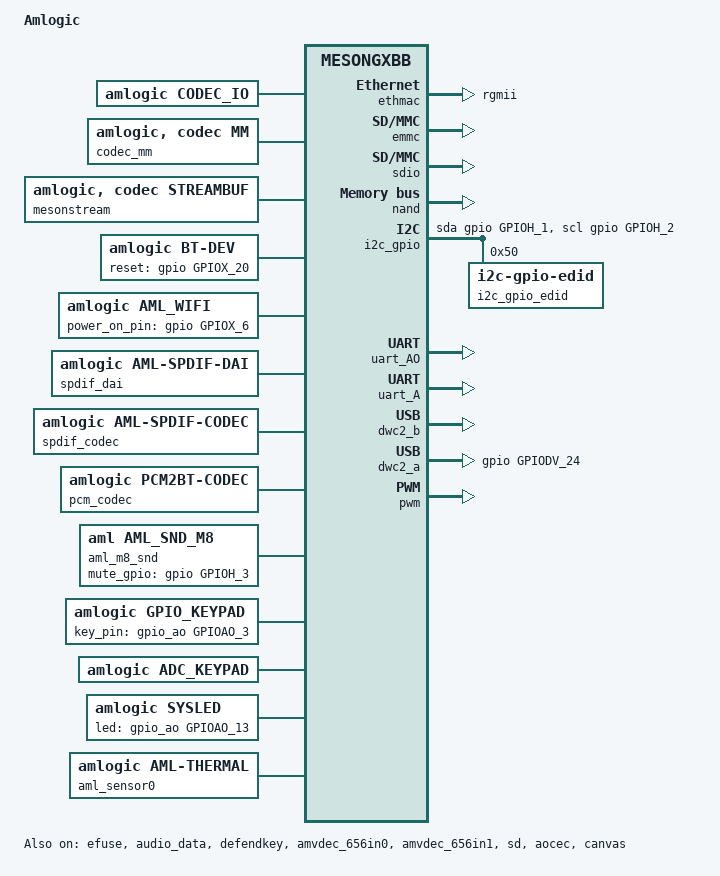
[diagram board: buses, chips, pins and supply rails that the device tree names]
/*
 * Amlogic Ltd. GXBaby Plaform
 *
 */

/dts-v1/;

#include <dt-bindings/interrupt-controller/arm-gic.h>
#include <dt-bindings/clock/gxbb.h>
#include <dt-bindings/gpio/gxbb.h>
#include <dt-bindings/gpio/gpio.h>
#include <dt-bindings/reset/aml_gxbb.h>
#include <dt-bindings/pwm/pwm.h>
#include <dt-bindings/pwm/meson.h>
#include "mesongxbb.dtsi"
/ {
	model = "Amlogic";
	amlogic-dt-id = "gxb_p200_2g";
	compatible = "amlogic, Gxbb";
	interrupt-parent = <&gic>;
	#address-cells = <2>;
	#size-cells = <2>;

	aliases {
		serial0 = &uart_AO;
		serial1 = &uart_A;
	};

	gpu_dvfs_tbl:gpu_dvfs_tbl {
		sc_mpp = <3>;/* number of pp used most of time.*/
		tbl = <&clk285_cfg &clk400_cfg &clk500_cfg &clk666_cfg &clk800_cfg>;
	};

	memory@00000000 {
		device_type = "memory";
		linux,usable-memory = <0x0 0x1000000 0x0 0x7f000000>;
	};

	reserved-memory {
		#address-cells = <2>;
		#size-cells = <2>;
		ranges;
		/* global autoconfigured region for contiguous allocations */
		secmon_reserved:linux,secmon {
			compatible = "amlogic, aml_secmon_memory";
			reg = <0x0 0x10000000 0x0 0x200000>;
			no-map;
		};
		secos_reserved:linux,secos {
			status = "disable";
			compatible = "amlogic, aml_secos_memory";
			reg = <0x0 0x05300000 0x0 0x2000000>;
			no-map;
		};
		pstore:aml_pstore {
			compatible = "amlogic, pstore";
			reg = <0x0 0x07300000 0x0 0x100000>;
			no-map;
		};
		fb_reserved:linux,meson-fb {
			compatible = "amlogic, fb-memory";
			reg = <0x0 0x7e000000 0x0 0x2000000>;
			no-map;
		};

		di_reserved:linux,di {
			compatible = "amlogic, di-mem";
			/** 10x3133440=30M(0x1e) support 8bit **/
			size = <0x0 0x1e00000>;
			//no-map;
			multi-use;
		};

		ion_reserved:linux,ion-dev {
			compatible = "amlogic, idev-mem";
			size = <0x0 0x2000000>;
			multi-use;
		};

		/*  vdin0 */
//		vdin0_reserved:linux,vdin0 {
//			compatible = "amlogic, vdin_memory";
			/* 1920x1080x2x4  =17M */
//			size = <0x0 0x01000000>;
//		};
		 /*  vdin1 */
//		vdin1_reserved:linux,vdin1 {
//			compatible = "amlogic, vdin_memory";
			/* 1920x1080x2x4  =17M */
//			size = <0x0 0x01000000>;
//		};
		/*  POST PROCESS MANAGER */
		//ppmgr_reserved:linux,ppmgr {
		//	compatible = "amlogic, ppmgr_memory";
		//	size = <0x0 0x2000000>;
		//};

		codec_mm_cma:linux,codec_mm_cma {
			compatible = "shared-dma-pool";
			reusable;
			size = <0x0 0xc000000>;
			alignment = <0x0 0x400000>;
			linux,contiguous-region;
		};
		picdec_cma_reserved:linux,picdec {
			compatible = "shared-dma-pool";
			reusable;
			size = <0x0 0x0>;
			status = "disabled";
			alignment = <0x0 0x400000>;
			linux,contiguous-region;
		};
		/*vm0_cma_reserved:linux,vm0_cma {
			compatible = "shared-dma-pool";
			reusable;
			size = <0x0 0x2000000>;
			alignment = <0x0 0x400000>;
		};
		vm1_cma_reserved:linux,vm1_cma {
			compatible = "shared-dma-pool";
			reusable;
			size = <0x0 0x2000000>;
			alignment = <0x0 0x400000>;
		};*/
		/* codec shared reserved */
		codec_mm_reserved:linux,codec_mm_reserved {
			compatible = "amlogic, codec-mm-reserved";
			size = <0x0 0x4100000>;
			alignment = <0x0 0x100000>;
 			//no-map;
		};
	};

	meson-vout {
		compatible = "amlogic, meson-vout";
		dev_name = "meson-vout";
		status = "okay";
	};
	meson-fb {
		compatible = "amlogic, meson-fb";
		memory-region = <&fb_reserved>;
		dev_name = "meson-fb";
		status = "okay";
		interrupts = <0 3 1
			0 89 1>;
		interrupt-names = "viu-vsync", "rdma";
		mem_size = <0x01851000 0x00100000>; /* fb0/fb1 memory size */
		display_mode_default = "1080p60hz";
		scale_mode = <1>; /** 0:VPU free scale 1:OSD free scale 2:OSD super scale */
		display_size_default = <1920 1080 1920 3240 32>; //1920*1080*4*3 = 0x17BB000
		logo_addr = "0x7f851000";
	};
	ge2d {
		compatible = "amlogic, ge2d";
		dev_name = "ge2d";
		status = "okay";
		interrupts = <0 150 1>;
		interrupt-names = "ge2d";
		clocks = <&clock CLK_VAPB_0>,
			<&clock CLK_GE2D>;
		clock-names = "clk_vapb_0",
				"clk_ge2d";
		resets = <&clock GCLK_IDX_GE2D>;
		reset-names = "ge2d";
	};
	codec_io {
		compatible = "amlogic, codec_io";
		#address-cells=<2>;
		#size-cells=<2>;
		ranges;
		io_cbus_base{
			reg = <0x0 0xC1100000 0x0 0x100000>;
		};
		io_dos_base{
			reg = <0x0 0xc8820000 0x0 0x10000>;
		};
		io_hiubus_base{
			reg = <0x0 0xc883c000 0x0 0x2000>;
		};
		io_aobus_base{
			reg = <0x0 0xc8100000 0x0 0x100000>;
		};
		io_vcbus_base{
			reg = <0x0 0xd0100000 0x0 0x40000>;
		};
		io_dmc_base{
			reg = <0x0 0xc8838000 0x0 0x400>;
		};
	};
	codec_mm {
			compatible = "amlogic, codec, mm";
			memory-region = <&codec_mm_cma &codec_mm_reserved>;
			dev_name = "codec_mm";
			status = "okay";
	};
	ethmac: ethernet@0xc9410000{
                compatible = "amlogic, gxbb-rgmii-dwmac";
                reg = <0x0 0xc9410000 0x0 0x10000
                0x0 0xc8834540 0x0 0x8>;
                interrupts = <0 8 1>;
                phy-mode= "rgmii";
                pinctrl-names = "eth_pins";
                pinctrl-0 = <&eth_pins>;
                rst_pin-gpios = <&gpio GPIOZ_14 0>;
                mc_val = <0x1621>;
                resets = <&clock GCLK_IDX_ETHERNET>;
                reset-names = "ethpower";
                interrupt-names = "macirq";
                clocks = <&clock CLK_81>;
                clock-names = "ethclk81";
        };

	mesonstream {
		compatible = "amlogic, codec, streambuf";
		dev_name = "mesonstream";
		status = "okay";
		resets = <&clock GCLK_IDX_HIU_PARSER_TOP
			&clock GCLK_IDX_VPU_INTR
			&clock GCLK_IDX_DEMUX
			&clock GCLK_IDX_DOS>;
		reset-names = "parser_top",
			"vpu_intr",
			"demux",
			"vdec";
	};

	amvideocap {
		compatible = "amlogic, amvideocap";
		dev_name = "amvideocap.0";
		status = "okay";
		max_size = <8>;//8M
	};

	ion_dev {
		compatible = "amlogic, ion_dev";
		memory-region = <&ion_reserved>;
	};

	vdec {
		compatible = "amlogic, vdec";
		dev_name = "vdec.0";
		status = "okay";
		interrupts = <0 3 1
			0 23 1
			0 32 1
			0 43 1
			0 44 1
			0 45 1>;
		interrupt-names = "vsync",
			"demux",
			"parser",
			"mailbox_0",
			"mailbox_1",
			"mailbox_2";
	};
	picdec {
		   compatible = "amlogic, picdec";
		   memory-region = <&picdec_cma_reserved>;
		   dev_name = "picdec";
		   status = "okay";
	};
	ppmgr {
		compatible = "amlogic, ppmgr";//to match of_device_id's compatible member
		memory-region = <&ion_reserved>;
		dev_name = "ppmgr";
		status = "okay";
	};
	deinterlace {
		compatible = "amlogic, deinterlace";
		status = "okay";
		memory-region = <&di_reserved>;
		interrupts = <0 46 1
				0 6 1>;
		interrupt-names = "de_irq",
				"timerc";
		/* nr_size(byte) = 1920*544*2(yuv422 8bit) | 1920*544*2*12/8(yuv422 10bit) | 1920*544*2*10/8(yuv422 10bit full pack mode) */
		/* mtn_size(byte) = 1920*544/2 */
		/* count_size(byte) = 1920*544/2 */
		buffer-size = <3133440>;
		hw-version = <2>;
	};
/*	vdin0 {
		compatible = "amlogic, vdin";
		memory-region = <&vdin0_reserved>;
		dev_name = "vdin0";
		status = "ok";
		reserve-iomap = "true";
		interrupts = <0 83 1>;
		rdma-irq = <2>;
		clocks = <&clock CLK_XTAL>,
			<&clock CLK_VID_LOCK_CLK>;
		clock-names = "xtal", "cts_vid_lock_clk";
		vdin_id = <0>;
	};
	vdin1 {
		compatible = "amlogic, vdin";
		memory-region = <&vdin1_reserved>;
		dev_name = "vdin1";
		status = "ok";
		reserve-iomap = "true";
		interrupts = <0 85 1>;
		rdma-irq = <4>;
		clocks = <&clock CLK_XTAL>,
			<&clock CLK_VID_LOCK_CLK>;
		clock-names = "xtal", "cts_vid_lock_clk";
		vdin_id = <1>;
	};*/

	amvdec_656in0 {
		compatible = "amlogic, amvdec_656in";
		dev_name = "amvdec_656in0";
		status = "ok";
		reg = <0x0 0xd0048000 0x0 0x7c>;
		clocks = <&clock CLK_FPLL_DIV2>,
			<&clock CLK_BT656_CLK0>;
		clock-names = "fclk_div2", "cts_bt656_clk0";
		bt656_id = <0>;
	};
	amvdec_656in1 {
		compatible = "amlogic, amvdec_656in";
		dev_name = "amvdec_656in1";
		status = "ok";
		reg = <0x0 0xd0050000 0x0 0x7c>;
		clocks = <&clock CLK_FPLL_DIV2>,
			<&clock CLK_BT656_CLK1>;
		clock-names = "fclk_div2", "cts_bt656_clk1";
		bt656_id = <1>;
	};

	amvenc_avc{
		compatible = "amlogic, amvenc_avc";
		//memory-region = <&amvenc_avc_reserved>;
		dev_name = "amvenc_avc";
		status = "okay";
		interrupts = <0 45 1>;
		interrupt-names = "mailbox_2";
	};

	/*vm0 {
		compatible = "amlogic, vm";
		memory-region = <&vm0_cma_reserved>;
		dev_name = "vm0";
		status = "okay";
		vm_id = <0>;
	};

	vm1 {
		compatible = "amlogic, vm";
		memory-region = <&vm1_cma_reserved>;
		dev_name = "vm1";
		status = "okay";
		vm_id = <1>;
	};*/

	vpu {
		compatible = "amlogic, vpu";
		dev_name = "vpu";
		status = "ok";
		clk_level = <7>;
		/**	0: 100.0M    1: 166.7M    2: 200.0M
			3: 250.0M    4: 333.3M    5: 400.0M
			6: 500.0M    7: 666.7M */
	};
	bt-dev{
		compatible = "amlogic, bt-dev";
		dev_name = "bt-dev";
		status = "ok";
		gpio_reset = <&gpio       GPIOX_20       GPIO_ACTIVE_HIGH>;
	};

	rtc{
		compatible = "amlogic, aml_vrtc";
		alarm_reg_addr = <0xc81000a8>;
		timer_e_addr = <0xc1109988>;
		init_date = "2015/01/01";
		status = "okay";
	};

	wifi{
		compatible = "amlogic, aml_wifi";
		dev_name = "aml_wifi";
		status = "okay";
		interrupt_pin = <&gpio       GPIOX_7       GPIO_ACTIVE_HIGH>;
		interrupts = <	0 68 4>;
		irq_trigger_type = "GPIO_IRQ_LOW";
		power_on_pin = <&gpio       GPIOX_6       GPIO_ACTIVE_HIGH>;
		dhd_static_buf;
		pinctrl-names = "wifi_32k_pins";
		pinctrl-0 = <&wifi_32k_pins>;
		pwm_config = <&wifi_pwm_conf>;
	};
 	wifi_pwm_conf:wifi_pwm_conf{
		pwm_channel = <PWM_E>;
		pwm_channel_conf = <30519 15260>;
	};
	emmc{
		compatible = "amlogic, aml_sd_emmc";
		dev_name = "aml_newsd.0";
		status = "okay";
		reg = <0x0 0xd0074000 0x0 0x2000>;
		interrupts = <	0 218 1>;
		pinctrl-names = "emmc_clk_cmd_pins", "emmc_all_pins";
		pinctrl-0 = <&emmc_clk_cmd_pins>;
		pinctrl-1 = <&emmc_all_pins>;
		emmc{
			status = "okay";
			pinname = "emmc";
			ocr_avail = <0x200080>;          /**VDD voltage 3.3 ~ 3.4 */
			caps = "MMC_CAP_8_BIT_DATA","MMC_CAP_MMC_HIGHSPEED",
				 "MMC_CAP_SD_HIGHSPEED", "MMC_CAP_NONREMOVABLE","MMC_CAP_1_8V_DDR",
				 "MMC_CAP_HW_RESET", "MMC_CAP_ERASE", "MMC_CAP_CMD23";
			caps2 = "MMC_CAP2_HS200";
			f_min = <300000>;
			f_max = <200000000>;
			tx_phase = <0>;
			max_req_size = <0x20000>;          /**256KB*/
			//            gpio_dat3 = "BOOT_3"
			gpio_dat3 = <&gpio       BOOT_3      GPIO_ACTIVE_HIGH>;
			hw_reset =  <&gpio       BOOT_9      GPIO_ACTIVE_HIGH>;
			card_type = <1>; /* 1:mmc card(include eMMC), 2:sd card(include tSD), */
		};
	};
    sd{
        compatible = "amlogic, aml_sd_emmc";
        dev_name = "aml_newsd.0";
        status = "okay";
        reg = <0x0 0xd0072000 0x0 0x2000>;
        interrupts = <	0 217 1
        				0 67 1
        				0 69 1>;
        pinctrl-names = "sd_clk_cmd_pins", "sd_all_pins", "sd_1bit_pins","sd_clk_cmd_uart_pins","sd_1bit_uart_pins", "sd_to_ao_uart_pins", "ao_to_sd_uart_pins","ao_to_sd_jtag_pins","sd_to_ao_jtag_pins";
        pinctrl-0 = <&sd_clk_cmd_pins>;
        pinctrl-1 = <&sd_all_pins>;
        pinctrl-2 = <&sd_1bit_pins>;
        pinctrl-3 = <&sd_clk_cmd_uart_pins>;
        pinctrl-4 = <&sd_1bit_uart_pins>;
        pinctrl-5 = <&sd_to_ao_uart_pins>;
        pinctrl-6 = <&ao_to_sd_uart_pins>;
        pinctrl-7 = <&ao_to_sd_jtag_pins>;
        pinctrl-8 = <&sd_to_ao_jtag_pins>;

		sd{
	   		status = "okay";
				port = <1>;          /**0:sdio_a, 1:sdio_b, 2:sdio_c, 3:sdhc_a, 4:sdhc_b, 5:sdhc_c */
	   		pinname = "sd";
	   		ocr_avail = <0x00200080>; // 3.3:0x200000, 1.8+3.3:0x00200080
	   		caps = "MMC_CAP_4_BIT_DATA","MMC_CAP_MMC_HIGHSPEED",
					"MMC_CAP_SD_HIGHSPEED";
					//"MMC_CAP_UHS_SDR12",
					//"MMC_CAP_UHS_SDR25","MMC_CAP_UHS_SDR50",
					//"MMC_CAP_UHS_SDR104";
	   		f_min = <400000>;
	   		f_max = <100000000>;
	   		max_req_size = <0x20000>;          /**128KB*/
			gpio_dat3 = <&gpio       CARD_4       GPIO_ACTIVE_HIGH>;
			jtag_pin =  <&gpio       CARD_0       GPIO_ACTIVE_HIGH>;
			gpio_cd =  <&gpio       CARD_6       GPIO_ACTIVE_HIGH>;
	   		irq_in = <3>;
	   		irq_out = <5>;
	   		card_type = <5>; /* 0:unknown, 1:mmc card(include eMMC), 2:sd card(include tSD), 3:sdio device(ie:sdio-wifi), 4:SD combo (IO+mem) card, 5:NON sdio device(means sd/mmc card), other:reserved */
		};
    };
	sdio{
		compatible = "amlogic, aml_sd_emmc";
		dev_name = "aml_newsd.0";
		status = "okay";
		reg = <0x0 0xd0070000 0x0 0x2000>;
		interrupts = <	0 216 1>;
		pinctrl-names =  "sdio_clk_cmd_pins", "sdio_all_pins";
		pinctrl-0 = <&sdio_clk_cmd_pins>;
		pinctrl-1 = <&sdio_all_pins>;
		sdio{
			status = "okay";
			pinname = "sdio";
			ocr_avail = <0x00200080>;  /*3.3:0x200000, 1.8+3.3:0x00200080 */
			caps = "MMC_CAP_4_BIT_DATA","MMC_CAP_MMC_HIGHSPEED",
				"MMC_CAP_SD_HIGHSPEED", "MMC_CAP_NONREMOVABLE",
				"MMC_CAP_UHS_SDR12","MMC_CAP_UHS_SDR25",
				"MMC_CAP_UHS_SDR50","MMC_CAP_UHS_SDR104",
				"MMC_PM_KEEP_POWER";
				f_min = <400000>;
				f_max = <200000000>;
				max_req_size = <0x20000>;          /**128KB*/
				card_type = <3>;  /*3:sdio device(ie:sdio-wifi), 4:SD combo (IO+mem) card, */
		};
	};
	nand{
		compatible = "amlogic, aml_nand";
		dev_name = "nand";
		status = "ok";
		reg = <0x0 0xd0074800 0x0 0x200>;
		interrupts = <	0 34 1 >;
		pinctrl-names = "nand_rb_mod","nand_norb_mod", "nand_cs_pins_only";
		pinctrl-0 = <&conf_nand_pulldown &conf_nand_pullup &all_nand_pins>;
		pinctrl-1 = <&conf_nand_pulldown &conf_nand_pullup &all_nand_pins>;
		pinctrl-2 = <&nand_cs_pins>;
		device_id = <0>;
		plat-names = "nandnormal";
		plat-num = <1>;
		plat-part-0 = <&normal>;
		normal: normal{
			enable_pad ="ce0","ce1","ce2","ce3";
			busy_pad = "rb0";
		};
	};
	aml_nftl{
		compatible = "amlogic, nftl";
		/* config nftl here */

	};
	/*aml_cams{
		compatible = "amlogic, cams_prober";
		status = "okay";
		clocks = <&clock CLK_CAMERA_24M>;
		clock-names = "clk_camera_24";
		pinctrl-names = "cam_gpio_a", "cam_gpio_b","cam_all";
		pinctrl-0 = <&cam_gpio_a> ;
		pinctrl-1 = <&cam_gpio_b> ;
		pinctrl-2 = <&cam_gpio_a &cam_gpio_b> ;
					 cam_0{
						cam_name = "sp2518";
						front_back = <0>;
						i2c_bus = "i2c_bus_a";
						gpio_pwdn-gpios = <&gpio       GPIOZ_14       GPIO_ACTIVE_HIGH>;
						gpio_rst-gpios = <&gpio       GPIOZ_12       GPIO_ACTIVE_HIGH>;
						mirror_flip = <1>;
						vertical_flip = <1>;
						spread_spectrum = <0>;	//0:none; 1:0.3%; 2:0.6%; 3:1.25%; 4:2.5%; 5:5%
						bt_path = "gpio";
						bt_path_count = <2>;
						vdin_path = <0>;
						status = "okay";
					};
					 cam_1{
						cam_name = "sp0838";
						front_back = <1>;
						i2c_bus = "i2c_bus_a";
						gpio_pwdn-gpios = <&gpio       GPIOZ_13       GPIO_ACTIVE_HIGH>;
						gpio_rst-gpios = <&gpio       GPIOZ_12       GPIO_ACTIVE_HIGH>;
						mirror_flip = <1>;
						vertical_flip = <1>;
						spread_spectrum = <0>;	//0:none; 1:0.3%; 2:0.6%; 3:1.25%; 4:2.5%; 5:5%
						bt_path = "gpio_b";
						bt_path_count = <2>;
						vdin_path = <1>;
						status = "okay";
					};
	};*/
	partitions: partitions{
        parts = <11>;
		part-0 = <&logo>;
		part-1 = <&recovery>;
		part-2 = <&rsv>;
		part-3 = <&tee>;
		part-4 = <&crypt>;
		part-5 = <&misc>;
		part-6 = <&instaboot>;
		part-7 = <&boot>;
		part-8 = <&system>;
		part-9 = <&cache>;
		part-10 = <&data>;
		logo:logo{
			pname = "logo";
			size = <0x0 0x2000000>;
			mask = <1>;
		};
		recovery:recovery{
			pname = "recovery";
			size = <0x0 0x2000000>;
			mask = <1>;
		};
		rsv:rsv{
			pname = "rsv";
			size = <0x0 0x800000>;
			mask = <1>;
		};
		tee:tee{
			pname = "tee";
			size = <0x0 0x800000>;
			mask = <1>;
		};
		crypt:crypt{
			pname = "crypt";
			size = <0x0 0x2000000>;
			mask = <1>;
		};
		misc:misc{
			pname = "misc";
			size = <0x0 0x2000000>;
			mask = <1>;
		};
		instaboot:instaboot{
			pname = "instaboot";
			size = <0x0 0x400000>;
			mask = <1>;
		};
		boot:boot
		{
			pname = "boot";
			size = <0x0 0x2000000>;
			mask = <1>;
		};
		system:system
		{
			pname = "system";
			size = <0x0 0x80000000>;
			mask = <1>;
		};
		cache:cache
		{
			pname = "cache";
			size = <0x0 0x20000000>;
			mask = <2>;
		};
		data:data
		{
			pname = "data";
			size = <0xffffffff 0xffffffff>;
			mask = <4>;
		};
	};
	unifykey{
		compatible = "amlogic, unifykey";
		status = "ok";

		unifykey-num = <11>;
		unifykey-index-0 = <&keysn_0>;
		unifykey-index-1 = <&keysn_1>;
		unifykey-index-2 = <&keysn_2>;
		unifykey-index-3 = <&keysn_3>;
		unifykey-index-4 = <&keysn_4>;
		unifykey-index-5 = <&keysn_5>;
		unifykey-index-6 = <&keysn_6>;
		unifykey-index-7 = <&keysn_7>;
		unifykey-index-8 = <&keysn_8>;
		unifykey-index-9 = <&keysn_9>;
		unifykey-index-10= <&keysn_10>;

                keysn_0: key_0{
			key-name = "usid";
			key-device = "normal";
			key-permit = "read","write","del";
		};
		keysn_1:key_1{
			key-name = "mac";
                        key-device  = "normal";
			key-permit = "read","write","del";
		};
		keysn_2:key_2{
                        key-name = "hdcp";
			key-device = "secure";
                        key-type  = "sha1";
			key-permit = "read","write","del";
		};
		keysn_3:key_3{
			key-name = "secure_boot_set";
			key-device = "efuse";
			key-permit = "write";
		};
		keysn_4:key_4{
			key-name = "mac_bt";
			key-device = "normal";
			key-permit = "read","write","del";
                        key-type  = "mac";
		};
		keysn_5:key_5{
			key-name = "mac_wifi";
			key-device = "normal";
			key-permit = "read","write","del";
                        key-type  = "mac";
		};
		keysn_6:key_6{
			key-name = "hdcp2_tx";
			key-device = "normal";
			key-permit = "read","write","del";
		};
		keysn_7:key_7{
			key-name = "hdcp2_rx";
			key-device = "normal";
			key-permit = "read","write","del";
		};
		keysn_8:key_8{
			key-name = "widevinekeybox";
			key-device = "secure";
			key-permit = "read","write","del";
		};
		keysn_9:key_9{
			key-name = "deviceid";
			key-device = "normal";
			key-permit = "read","write","del";
		};
		keysn_10:key_10{
			key-name = "hdcp22_fw_private";
			key-device = "secure";
			key-permit = "read","write","del";
		};
        };//End unifykey
	amhdmitx: amhdmitx{
		compatible = "amlogic, amhdmitx";
		dev_name = "amhdmitx";
		status = "okay";
		pinctrl-names="hdmitx_hpd", "hdmitx_ddc";
		pinctrl-0=<&hdmitx_hpd>;
		pinctrl-1=<&hdmitx_ddc>;
		/* HPD, 57 + 32 = 89; CEC, 151 + 32 = 183*/
		interrupts = <0 57 1>;
		interrupt-names = "hdmitx_hpd";
		clocks = <&clock CLK_HDMITX_SYS &clock CLK_HDMITX_ENCP
			&clock CLK_HDMITX_ENCI &clock CLK_HDMITX_PIXEL
			&clock CLK_HDMITX_PHY &clock CLK_VID>;
		clock-names = "hdmitx_clk_sys", "hdmitx_clk_encp", "hdmitx_clk_enci",
			"hdmitx_clk_pixel", "hdmitx_clk_phy", "hdmitx_clk_vid";
		/* hdcp14_en = <0x82000010>; */
		/* hdcp14_rslt = <0x82000011>; */
		gpio_i2c_en = <0x1>;
		ranges;
		#address-cells = <2>;
		#size-cells = <2>;
	};
	aocec: aocec{
		compatible = "amlogic, amlogic-aocec";
		device_name = "aocec";
		status = "okay";
		vendor_name = "Amlogic"; /* Max Chars: 8     */
		vendor_id = <0x000000>; /* Refer to http://standards.ieee.org/develop/regauth/oui/oui.txt   */
		product_desc = "GXBB Mbox"; /* Max Chars: 16    */
		cec_osd_string = "MBox"; /* Max Chars: 14    */
		port_num = <1>;
		arc_port_mask = <0x0>;
		interrupts = <0 199 1>;
		interrupt-names = "hdmi_aocec";
		pinctrl-names = "hdmitx_aocec";
		pinctrl-0=<&hdmitx_aocec>;
		reg = <0x0 0xc810023c 0x0 0x4
		       0x0 0xc8100000 0x0 0x200>;
	};

	tvout {
		compatible = "amlogic, tvout";
		dev_name = "tvout";
		status = "okay";
	};

	i2c_gpio: i2c_gpio {
		compatible = "i2c-gpio";
		dev_name = "i2c-gpio";
		i2c-gpio,delay-us = <10>; /* 50 kHz */
		gpios = <&gpio GPIOH_1 0
		&gpio GPIOH_2 0>;
		#address-cells = <2>;
		#size-cells = <2>;
		i2c-gpio,timeout-ms = <10>;
		i2c_gpio_edid: i2c_gpio_edid {
			compatible = "i2c-gpio-edid";
			reg = <0x50 0x0 0x0 0x0>;
		};
	};

	uart_AO: serial@c81004c0 {
		compatible = "amlogic, meson-uart";
		reg = <0x0 0xc81004c0 0x0 0x14>;
		interrupts = <0 193 1>;
		status = "okay";
		clocks = <&clock CLK_XTAL>;
		clock-names = "clk_uart";
		fifosize = < 64 >;
		pinctrl-names = "default";
		//pinctrl-0 = <&ao_uart_pins>;
		support-sysrq = <0>;	/* 0 not support , 1 support */
	};
	uart_A: serial@c11084c0 {
		compatible = "amlogic, meson-uart";
		reg = <0x0 0xc11084c0 0x0 0x14>;
		interrupts = <0 26 1>;
		status = "okay";
		clocks = <&clock CLK_XTAL>;
		clock-names = "clk_uart";
		fifosize = < 128 >;
		pinctrl-names = "default";
		pinctrl-0 = <&a_uart_pins>;
		resets = <&clock GCLK_IDX_UART0>;
	};


	canvas{
		compatible = "amlogic, meson, canvas";
		dev_name = "amlogic-canvas";
		status = "ok";
		reg = <0x0 0xc8838000 0x0 0x400>;
	};

	rdma{
		compatible = "amlogic, meson, rdma";
		dev_name = "amlogic-rdma";
		status = "ok";
		interrupts = <0 89 1>;
		interrupt-names = "rdma";
	};

	dwc2_b {
		compatible = "amlogic,dwc2";
		device_name = "dwc2_b";
		reg = <0x0 0xc9100000 0x0 0x40000>;
		interrupts = <0 31 4>;
		status = "okay";
		pl-periph-id = <1>; /** lm name */
		clock-src = "usb1"; /** clock src */
		port-id = <1>;   /** ref to mach/usb.h */
		port-type = <1>;	/** 0: otg, 1: host, 2: slave */
		port-speed = <0>; /** 0: default, 1: high, 2: full */
		port-config = <0>; /** 0: default */
		port-dma = <0>; /** 0: default, 1: single, 2: incr, 3: incr4, 4: incr8, 5: incr16, 6: disable*/
		port-id-mode = <1>; /** 0: hardware, 1: sw_host, 2: sw_slave*/
		phy-reg = <0xc0000020>;
		phy-reg-size = <0x20>;
		usb-fifo = <1024>;
		host-only-core = <1>;
		pmu-apply-power = <1>;
		cpu-type = "gxbaby";
		resets = <&clock GCLK_IDX_USB_GENERAL
					&clock GCLK_IDX_MISC_USB1_TO_DDR
					&clock GCLK_IDX_USB1>;
		reset-names = "usb_general",
						"usb1",
						"usb1_to_ddr";
	};

	dwc2_a {
		compatible = "amlogic,dwc2";
		device_name = "dwc2_a";
		reg = <0x0 0xc9000000 0x0 0x40000>;
		interrupts = <0 30 4>;
		status = "okay";
		pl-periph-id = <0>; /** lm name */
		clock-src = "usb0"; /** clock src */
		port-id = <0>;  /** ref to mach/usb.h */
		port-type = <0>;	/** 0: otg, 1: host, 2: slave */
		port-speed = <0>; /** 0: default, high, 1: full */
		port-config = <0>; /** 0: default */
		port-dma = <0>; /** 0: default, 1: single, 2: incr, 3: incr4, 4: incr8, 5: incr16, 6: disable*/
		port-id-mode = <0>; /** 0: hardware, 1: sw_host, 2: sw_slave*/
		gpio-vbus-power = "GPIODV_24";
		gpios = <&gpio       GPIODV_24       GPIO_ACTIVE_HIGH>;
		gpio-work-mask	= <1>; /**0: work on pulldown,1:work on pullup*/
		phy-reg = <0xc0000000>;
		phy-reg-size = <0x20>;
		usb-fifo = <1024>;
		cpu-type = "gxbaby";
		resets = <&clock GCLK_IDX_USB_GENERAL
					    &clock GCLK_IDX_MISC_USB0_TO_DDR
              &clock GCLK_IDX_USB0>;
		reset-names = "usb_general",
						"usb0",
						"usb0_to_ddr";
	};

	/* AUDIO MESON8 DEVICES */
	i2s_dai: I2S {
		#sound-dai-cells = <0>;
		resets = <
			&clock GCLK_IDX_AIU_AI_TOP_GLUE
			&clock GCLK_IDX_AUD_BUF_ABD
			&clock GCLK_IDX_AIU_I2S_OUT
			&clock GCLK_IDX_AIU_AMCLK_MEASURE
			&clock GCLK_IDX_AIU_AIFIFO2
			&clock GCLK_IDX_AIU_AUD_MIXER
			&clock GCLK_IDX_AIU_MIXER_REG
			&clock GCLK_IDX_AIU_ADC
			&clock GCLK_IDX_AIU_TOP_LEVEL
			&clock GCLK_IDX_AIU_AOCLK
			&clock GCLK_IDX_AUD_IN
		>;
		reset-names =
			"top_glue",
			"aud_buf",
			"i2s_out",
			"amclk_measure",
			"aififo2",
			"aud_mixer",
			"mixer_reg",
			"adc",
			"top_level",
			"aoclk",
			"aud_in";
		clocks = <&clock CLK_MPLL2>,
			<&clock CLK_AMCLK>;
		clock-names = "mpll2", "mclk";
		compatible = "amlogic, aml-i2s-dai";
	};
	spdif_dai: SPDIF {
		#sound-dai-cells = <0>;
		compatible = "amlogic, aml-spdif-dai";
		resets = <
			&clock GCLK_IDX_AIU_IEC958
			&clock GCLK_IDX_AIU_ICE958_AMCLK
		>;
		reset-names =
			"iec958",
			"iec958_amclk";
		clocks = <&clock CLK_MPLL1>,
			<&clock CLK_I958>,
			<&clock CLK_AMCLK>,
			<&clock CLK_SPDIF>,
			<&clock CLK_81>;
		clock-names = "mpll1", "i958", "mclk", "spdif", "clk_81";
	};
	pcm_dai: PCM {
		#sound-dai-cells = <0>;
		compatible = "amlogic, aml-pcm-dai";
		pinctrl-names = "aml_audio_btpcm";
		pinctrl-0 = <&audio_btpcm_pins>;
		clocks = <&clock CLK_MPLL0>,
			<&clock CLK_PCM_MCLK>,
			<&clock CLK_PCM_SCLK>;
		clock-names = "mpll0", "pcm_mclk", "pcm_sclk";
		pcm_mode = <1>;	/* 0=slave mode, 1=master mode */
	};
	i2s_plat: i2s_platform {
		compatible = "amlogic, aml-i2s";
		interrupts = <0 29 1>;
	};
	pcm_plat: pcm_platform {
		compatible = "amlogic, aml-pcm";
	};
	spdif_codec: spdif_codec{
		#sound-dai-cells = <0>;
		compatible = "amlogic, aml-spdif-codec";
		pinctrl-names = "aml_audio_spdif";
		pinctrl-0 = <&audio_spdif_pins>;
	};
	pcm_codec: pcm_codec{
		#sound-dai-cells = <0>;
		compatible = "amlogic, pcm2BT-codec";
	};
	/* endof AUDIO MESON8 DEVICES */

	/* AUDIO board specific */
	dummy_codec:dummy{
		#sound-dai-cells = <0>;
		compatible = "amlogic, aml_dummy_codec";
		status = "okay";
	};
	aml_m8_snd {
		compatible = "aml, aml_snd_m8";
		status = "okay";
		aml-sound-card,format = "i2s";
		aml_sound_card,name = "AML-M8AUDIO";
		aml,audio-routing =
				"Ext Spk","LOUTL",
				"Ext Spk","LOUTR";

		mute_gpio-gpios = <&gpio GPIOH_3 0>;
		hp_disable;
		hp_paraments = <800 300 0 5 1>;
		pinctrl-names = "aml_snd_m8";
		pinctrl-0 = <&audio_pins>;
		cpu_list = <&cpudai0 &cpudai1 &cpudai2>;
		codec_list = <&codec0 &codec1 &codec2>;
		plat_list = <&i2s_plat &i2s_plat &pcm_plat>;
		cpudai0: cpudai0 {
			sound-dai = <&i2s_dai>;
		};
		cpudai1: cpudai1 {
			sound-dai = <&spdif_dai>;
		};
		cpudai2: cpudai2 {
			sound-dai = <&pcm_dai>;
		};
		codec0: codec0 {
			sound-dai = <&dummy_codec>;
		};
		codec1: codec1 {
			sound-dai = <&spdif_codec>;
		};
		codec2: codec2 {
			sound-dai = <&pcm_codec>;
		};
	};
	/* END OF AUDIO board specific */

	gpio_keypad{
	    compatible = "amlogic, gpio_keypad";
		status = "okay";
		scan_period = <20>;
		key_num = <1>;
	    key_name = "power";
		key_code = <116>;
		key_pin = <&gpio_ao  GPIOAO_3  GPIO_ACTIVE_HIGH>;  /*"GPIOAO_3";*/
	    irq_keyup = <6>;
	    irq_keydown = <7>;
	};

	pwm {
		compatible = "amlogic, meson-pwm";
		status = "okay";
		pwm-outputs 	= <PWM_A>,<PWM_B>,<PWM_C>,<PWM_D>,
			      	  <PWM_E>,<PWM_F>,<PWM_AO_A>,<PWM_AO_B>;
		pwm-outputs-new = <PWM_A>,<PWM_B>,<PWM_C>,<PWM_D>,
				  <PWM_E>,<PWM_F>,<PWM_AO_A>,<PWM_AO_B>,
			          <PWM_A2>,<PWM_B2>,<PWM_C2>,<PWM_D2>,
			          <PWM_E2>,<PWM_F2>,<PWM_AO_A2>,<PWM_AO_B2>;
		reg = <0x0 0xc1108550 0x0 0x30>,
		      <0x0 0xc8100550  0x0 0x10>;
		clocks = <&clock CLK_XTAL>,
			 <&clock CLK_VID_PLL>,
			 <&clock CLK_FPLL_DIV4>,
			 <&clock CLK_FPLL_DIV3>;
		clock-names = "xtal",
			      "vid_pll_clk",
			      "fclk_div4",
			      "fclk_div3";
		clock-select = <XTAL_CLK>,<XTAL_CLK>,<XTAL_CLK>,<XTAL_CLK>,
			       	   <FCLK_DIV3_CLK>,<XTAL_CLK>,<XTAL_CLK>,<XTAL_CLK>;
		clock-select-new = <XTAL_CLK>,<XTAL_CLK>,<XTAL_CLK>,<XTAL_CLK>,
		                   <XTAL_CLK>,<XTAL_CLK>,<XTAL_CLK>,<XTAL_CLK>,
		                   <XTAL_CLK>,<XTAL_CLK>,<XTAL_CLK>,<XTAL_CLK>,
		                   <XTAL_CLK>,<XTAL_CLK>,<XTAL_CLK>,<XTAL_CLK>;
		                   /*all channels use the default clock source XTAL_CLK*/
		                   /*and you can shoose it in file dt-bindings/pwm/meson.h*/
	};

	adc_keypad{
		compatible = "amlogic, adc_keypad";
		status = "okay";
		key_name = "menu", "vol-","vol+", "esc", "home";
		key_num = <5>;
		key_code = <139 114 115 1 102>;
		key_chan = <0 0 0 0 0>;
		key_val = <0 143 271 393 510>; //voltage=0/252/478/692/824mV, val=voltage/1800mV*1023
		key_tolerance = <40 40 40 40 40>;
	};

	sysled {
		compatible = "amlogic, sysled";
		dev_name = "sysled";
		status = "okay";
		led_gpio = <&gpio_ao  GPIOAO_13  GPIO_ACTIVE_HIGH>;
		led_active_low = <1>;
	};
	aml_sensor0: aml-sensor@0 {
		compatible = "amlogic, aml-thermal";
		device_name = "thermal";
		#thermal-sensor-cells = <1>;
		cooling_devices {
			cpufreq_cool_cluster0 {
				min_state = <1000000>;
				dyn_coeff = <140>;
				cluster_id = <0>;
				node_name = "cpus";
				device_type = "cpufreq";
			};
			cpucore_cool_cluster0 {
				min_state = <1>;
				dyn_coeff = <0>;
				cluster_id = <0>;
				node_name = "cpu_core_cluster0";
				device_type = "cpucore";
			};
			gpufreq_cool {
				min_state = <400>;
				dyn_coeff = <437>;
				cluster_id = <0>;
				node_name = "mali";
				device_type = "gpufreq";
			};
			gpucore_cool {
				min_state = <1>;
				dyn_coeff = <0>;
				cluster_id = <0>;
				node_name = "thermal_gpu_cores";
				device_type = "gpucore";
			};
		};
		cpu_cluster0:cpu_core_cluster0 {
			#cooling-cells = <2>; /* min followed by max */
		};
		gpucore:thermal_gpu_cores {
			#cooling-cells = <2>; /* min followed by max */
		};
	};
	thermal-zones {
		soc_thermal {
			polling-delay = <1000>;
			polling-delay-passive = <100>;
			sustainable-power = <2150>;

			thermal-sensors = <&aml_sensor0 3>;

			trips {
				switch_on: trip-point@0 {
					temperature = <70000>;
					hysteresis = <1000>;
					type = "passive";
				};
				control: trip-point@1 {
					temperature = <80000>;
					hysteresis = <1000>;
					type = "passive";
				};
				hot: trip-point@2 {
					temperature = <85000>;
					hysteresis = <5000>;
					type = "hot";
				};
				critical: trip-point@3 {
					temperature = <260000>;
					hysteresis = <1000>;
					type = "critical";
				};
			};

			cooling-maps {
				cpufreq_cooling_map {
					trip = <&control>;
					cooling-device = <&cpus 0 4>;
					contribution = <1024>;
				};
				cpucore_cooling_map {
					trip = <&control>;
					cooling-device = <&cpu_cluster0 0 3>;
					contribution = <1024>;
				};
				gpufreq_cooling_map {
					trip = <&control>;
					cooling-device = <&gpu 0 4>;
					contribution = <1024>;
				};
				gpucore_cooling_map {
					trip = <&control>;
					cooling-device = <&gpucore 0 2>;
					contribution = <1024>;
				};
			};
		};
	};

/*
	dvb {
		compatible = "amlogic, dvb";
		dev_name = "dvb";
		//"parallel","serial","disable"
		ts0 = "parallel";
		ts0_control = <0>;
		ts0_invert = <0>;
		pinctrl-names = "p_ts0", "s_ts0";
		pinctrl-0 = <&dvb_p_ts0_pins>;
		pinctrl-1 = <&dvb_s_ts0_pins>;
		resets = <&clock GCLK_IDX_DEMUX
				&clock GCLK_IDX_ASYNC_FIFO
				&clock GCLK_IDX_AHB_ARB0
				&clock GCLK_IDX_HIU_PARSER_TOP>;
		reset-names = "demux", "asyncfifo", "ahbarb0", "uparsertop";
	};
	dvbfe {
		compatible = "amlogic, dvbfe";
		dev_name = "dvbfe";
		dtv_demod0 = "Mxl241";
		dtv_demod0_i2c_adap_id = <2>;
		dtv_demod0_i2c_addr = <0x60>;
		dtv_demod0_reset_value = <0>;
		dtv_demod0_reset_gpio-gpios = <&gpio GPIOY_12 GPIO_ACTIVE_HIGH>;
		fe0_dtv_demod = <0>;
		fe0_ts = <0>;
		fe0_dev = <0>;
	};
*/
};
&i2c_a {
  status = "disabled";
  /*p200: multiplex with usb PWR, disbaled*/
};
/*
&i2c_b {
  status = "okay";
};
*/

&pinmux {
	audio_pins:audio_pin{
		amlogic,setmask=<AO 0x78000000>;
		amlogic,clrmask=<AO 0x40000>;
		amlogic,pins = "GPIOAO_8","GPIOAO_9","GPIOAO_10","GPIOAO_11";
	};

	audio_spdif_pins:audio_pin1{
		amlogic,setmask=<AO 0x10000>;	/*spdif_out*/
		amlogic,clrmask=<AO 0x40000>;	/*spdif_out*/
		amlogic,pins ="GPIOAO_6";		/*spdif_out*/
	};

	audio_btpcm_pins:audio_btpcm_pins{
		/* BT PCM PINMUX SETTING*/
		amlogic,setmask=<3 0x78000000>;
		amlogic,clrmask=<3 0x803280
				4 0xc0>;
		amlogic,pins ="GPIOX_8", "GPIOX_9", "GPIOX_10", "GPIOX_11";
	};
};

&efuse {
	status = "okay";
};
&audio_data{
	status = "okay";
};
&defendkey {
	status = "okay";
};
